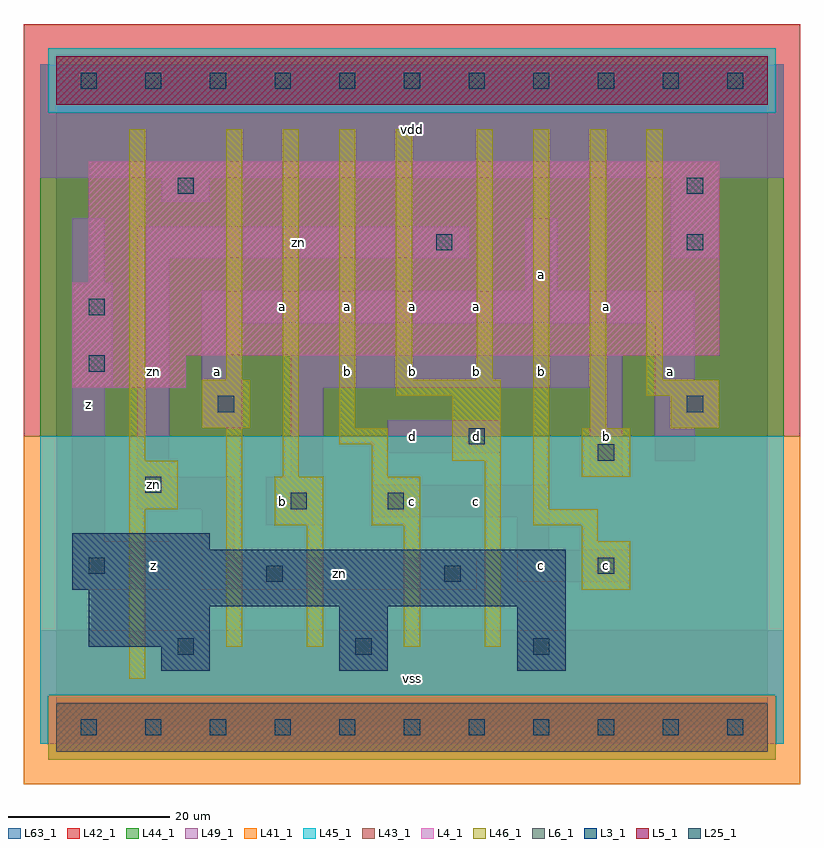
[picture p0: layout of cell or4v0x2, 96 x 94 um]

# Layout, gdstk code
import gdstk
lib = gdstk.Library(unit=1e-6, precision=1e-09)
def R(c, l, rs):  # rectangles x0, y0, x1, y1
    for r in rs: c.add(gdstk.rectangle(r[:2], r[2:], *l))
def A(c, l, x, y, w, h, nx, ny, dx, dy):  # array of equal rectangles
    R(c, l, [(x+i*dx, y+j*dy, x+i*dx+w, y+j*dy+h) for i in range(nx) for j in range(ny)])
L3_1 = (3, 1)
L4_1 = (4, 1)
L5_1 = (5, 1)
L6_1 = (6, 1)
L25_1 = (25, 1)
L41_1 = (41, 1)
L42_1 = (42, 1)
L43_1 = (43, 1)
L44_1 = (44, 1)
L45_1 = (45, 1)
L46_1 = (46, 1)
L49_1 = (49, 1)
L63_1 = (63, 1)

or4v0x2 = lib.new_cell('or4v0x2')
R(or4v0x2, L3_1, [(13,7,19,10), (35,7,41,15), (57,7,63,15), (4,10,19,15), (4,15,63,17), (2,17,63,22), (2,22,19,24)])
R(or4v0x2, L4_1, [(2,42,16,46), (2,46,82,55), (4,55,82,70)])
R(or4v0x2, L5_1, [(0,77,88,83)])
R(or4v0x2, L6_1, [(0,-3,88,3), (0,-3,88,3)])
A(or4v0x2, L25_1, 3, -1, 2, 2, 11, 2, 8, 80)
A(or4v0x2, L25_1, 15, 9, 2, 2, 3, 1, 22, 0)
R(or4v0x2, L25_1, [(26,18,28,20), (48,18,50,20), (4,19,6,21), (67,19,69,21), (29,27,31,29), (41,27,43,29), (11,29,13,31), (67,33,69,35), (51,35,53,37), (20,39,22,41), (78,39,80,41), (4,44,6,46), (4,51,6,53), (47,59,49,61), (78,59,80,61), (15,66,17,68), (78,66,80,68)])
R(or4v0x2, L41_1, [(-4,-7,92,36)])
R(or4v0x2, L42_1, [(-4,36,92,87)])
R(or4v0x2, L43_1, [(0,-3,88,3), (13,7,19,10), (35,7,41,15), (57,7,63,15), (4,10,19,15), (4,15,63,17), (2,17,63,22), (2,22,19,24), (2,42,16,46), (2,46,82,55), (4,55,82,70), (0,77,88,83)])
R(or4v0x2, L44_1, [(-1,-4,89,4), (-2,36,90,76), (-2,76,-1,82), (89,76,90,82)])
R(or4v0x2, L45_1, [(-2,-2,-1,4), (89,-2,90,4), (-2,4,90,36), (-1,76,89,84)])
R(or4v0x2, L46_1, [(9,6,11,27), (21,10,23,37), (31,10,33,25), (43,10,45,25), (53,10,55,33), (65,17,71,23), (65,23,67,25), (27,25,33,31), (39,25,45,31), (59,25,67,27), (9,27,15,33), (59,27,61,74), (28,31,30,74), (39,31,41,35), (65,31,71,37), (9,33,11,74), (49,33,55,41), (35,35,41,37), (18,37,24,43), (35,37,37,74), (66,37,68,74), (76,37,82,41), (42,41,55,43), (73,41,82,43), (21,43,23,74), (42,43,44,74), (52,43,54,74), (73,43,75,74)])
R(or4v0x2, L49_1, [(-2,-2,90,12), (2,17,14,23), (18,17,52,21), (57,18,71,22), (18,21,22,27), (57,22,61,26), (2,23,6,42), (26,25,33,31), (39,26,61,30), (10,27,22,31), (10,31,14,58), (29,31,33,42), (66,31,70,42), (74,33,79,37), (41,34,55,38), (18,37,23,50), (74,37,82,43), (2,42,7,55), (29,42,70,46), (74,43,79,50), (18,50,79,54), (58,54,62,63), (2,55,6,63), (10,58,51,62), (76,58,82,68), (13,65,19,68), (-2,68,90,82)])
R(or4v0x2, L63_1, [(0,0,88,80)])
or4v0x2.add(gdstk.Label('zn', (12,30), layer=49, texttype=1))
or4v0x2.add(gdstk.Label('z', (12,20), layer=49, texttype=1))
or4v0x2.add(gdstk.Label('z', (4,40), layer=49, texttype=1))
or4v0x2.add(gdstk.Label('zn', (12,44), layer=49, texttype=1))
or4v0x2.add(gdstk.Label('b', (28,28), layer=49, texttype=1))
or4v0x2.add(gdstk.Label('a', (20,44), layer=49, texttype=1))
or4v0x2.add(gdstk.Label('a', (28,52), layer=49, texttype=1))
or4v0x2.add(gdstk.Label('vss', (44,6), layer=49, texttype=1))
or4v0x2.add(gdstk.Label('zn', (35,19), layer=49, texttype=1))
or4v0x2.add(gdstk.Label('c', (44,28), layer=49, texttype=1))
or4v0x2.add(gdstk.Label('b', (36,44), layer=49, texttype=1))
or4v0x2.add(gdstk.Label('d', (44,36), layer=49, texttype=1))
or4v0x2.add(gdstk.Label('b', (44,44), layer=49, texttype=1))
or4v0x2.add(gdstk.Label('a', (44,52), layer=49, texttype=1))
or4v0x2.add(gdstk.Label('a', (36,52), layer=49, texttype=1))
or4v0x2.add(gdstk.Label('zn', (30,60), layer=49, texttype=1))
or4v0x2.add(gdstk.Label('vdd', (44,74), layer=49, texttype=1))
or4v0x2.add(gdstk.Label('c', (52,28), layer=49, texttype=1))
or4v0x2.add(gdstk.Label('c', (60,20), layer=49, texttype=1))
or4v0x2.add(gdstk.Label('c', (68,20), layer=49, texttype=1))
or4v0x2.add(gdstk.Label('d', (52,36), layer=49, texttype=1))
or4v0x2.add(gdstk.Label('b', (52,44), layer=49, texttype=1))
or4v0x2.add(gdstk.Label('b', (60,44), layer=49, texttype=1))
or4v0x2.add(gdstk.Label('b', (68,36), layer=49, texttype=1))
or4v0x2.add(gdstk.Label('a', (68,52), layer=49, texttype=1))
or4v0x2.add(gdstk.Label('a', (52,52), layer=49, texttype=1))
or4v0x2.add(gdstk.Label('a', (60,56), layer=49, texttype=1))
or4v0x2.add(gdstk.Label('a', (76,44), layer=49, texttype=1))

lib.write_gds('or4v0x2.gds')
